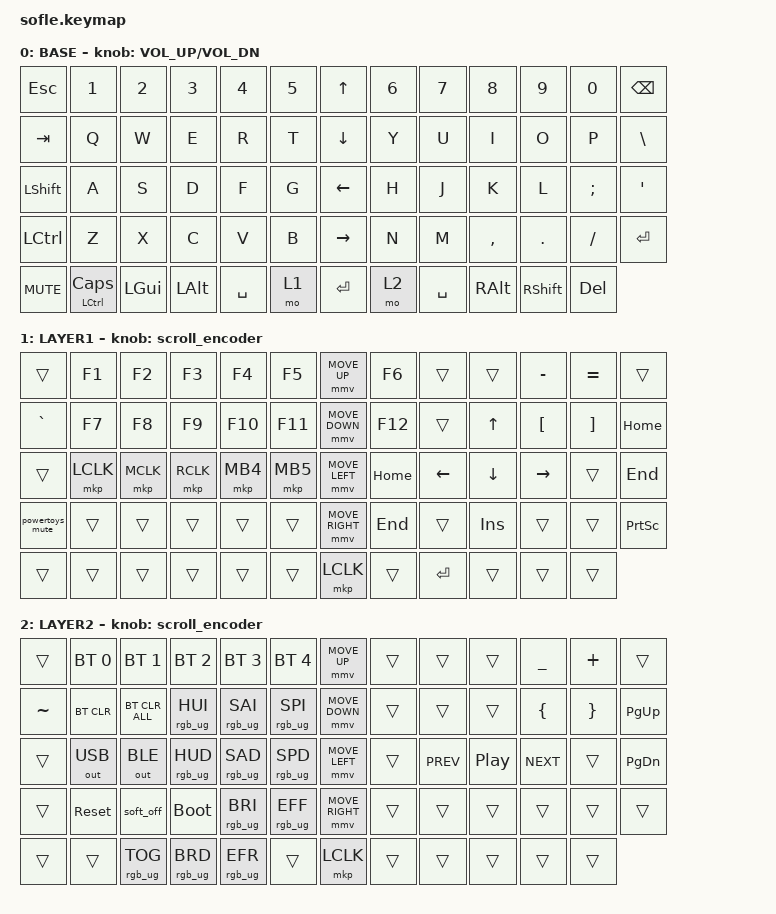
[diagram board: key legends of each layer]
#include <behaviors/mouse_keys.dtsi>
#include <behaviors.dtsi>
#include <dt-bindings/zmk/bt.h>
#include <dt-bindings/zmk/keys.h>
#include <dt-bindings/zmk/mouse.h>
#include <dt-bindings/zmk/outputs.h>
#include <dt-bindings/zmk/rgb.h>

#define ZMK_MOUSE_DEFAULT_MOVE_VAL 1200  // 600
#define ZMK_MOUSE_DEFAULT_SCRL_VAL 20    // 10
#define U_MS_U &mmv MOVE_UP
#define U_MS_D &mmv MOVE_DOWN
#define U_MS_L &mmv MOVE_LEFT
#define U_MS_R &mmv MOVE_RIGHT
#define ZMK_MOUSE_DEFAULT_MOVE_VAL 1200  //  600
#define ZMK_MOUSE_DEFAULT_SCRL_VAL 20    // 10

/ {
    behaviors {
        mmv {
            acceleration-exponent = <1>;      // 1
            time-to-max-speed-ms = <900>;    // 40
            delay-ms = <0>;                   // 0
        };

        msc {
            acceleration-exponent = <1>;      // 0
            time-to-max-speed-ms = <400>;      // 500
            delay-ms = <0>;                   //   10
        };
    };

    scroll_encoder: scroll_encoder {
        compatible = "zmk,behavior-sensor-rotate";
        #sensor-binding-cells = <0>;
        bindings = <&msc SCRL_DOWN>, <&msc SCRL_UP>;

        tap-ms = <30>;
    };
	
	macros {
		powertoys_mute: powertoys_mute {
			compatible = "zmk,behavior-macro";
            #binding-cells = <0>;
            bindings
                = <&macro_press &kp LEFT_GUI>
				, <&macro_press &kp LSHIFT>
				, <&macro_tap &kp A>
				, <&macro_release &kp LEFT_GUI>
				, <&macro_release &kp LSHIFT>
                ;
		};
	};

    keymap {
        compatible = "zmk,keymap";

        layer0 {
            bindings = <
&kp ESC		&kp N1			&kp N2			&kp N3			&kp N4		&kp N5	&kp UP_ARROW	&kp N6	&kp N7		&kp N8		&kp N9		&kp N0		&kp BACKSPACE
&kp TAB		&kp Q			&kp W			&kp E			&kp R		&kp T	&kp DOWN_ARROW	&kp Y	&kp U		&kp I		&kp O		&kp P		&kp BSLH
&kp LSHIFT	&kp A			&kp S			&kp D			&kp F		&kp G	&kp LEFT_ARROW	&kp H	&kp J		&kp K		&kp L		&kp SEMI	&kp APOS
&kp LCTRL	&kp Z			&kp X			&kp C			&kp V		&kp B	&kp RIGHT_ARROW	&kp N	&kp M		&kp COMMA	&kp DOT		&kp FSLH	&kp ENTER
&kp C_MUTE	&mt LCTRL CAPS	&kp LEFT_GUI	&kp LEFT_ALT	&kp SPACE	&mo 1	&kp ENTER		&mo 2	&kp SPACE	&kp RALT	&kp RSHIFT	&kp DELETE
            >;

            sensor-bindings = <&inc_dec_kp C_VOLUME_UP C_VOL_DN>;
            display-name = "BASE";
        };

        layer_1 {
            bindings = <
&trans			&kp F1		&kp F2		&kp F3		&kp F4			&kp F5			&mmv MOVE_UP	&kp F6			&trans			&trans		&kp MINUS			&kp EQUAL			&trans
&kp GRAVE		&kp F7		&kp F8		&kp F9		&kp F10			&kp F11			&mmv MOVE_DOWN	&kp F12			&trans			&kp UP		&kp LEFT_BRACKET	&kp RIGHT_BRACKET	&kp HOME
&trans			&mkp LCLK	&mkp MCLK	&mkp RCLK	&mkp MB4		&mkp MB5		&mmv MOVE_LEFT	&kp HOME		&kp LEFT		&kp DOWN	&kp RIGHT			&trans				&kp END
&powertoys_mute	&trans		&trans		&trans		&trans			&trans			&mmv MOVE_RIGHT	&kp END			&trans			&kp INSERT	&trans				&trans				&kp PRINTSCREEN
&trans			&trans		&trans		&trans		&trans			&trans			&mkp LCLK		&trans			&kp ENTER		&trans		&trans				&trans
            >;

            sensor-bindings = <&scroll_encoder>;
			display-name = "LAYER1";
        };

        layer_2 {
            bindings = <
&trans		&bt BT_SEL 0	&bt BT_SEL 1	&bt BT_SEL 2	&bt BT_SEL 3	&bt BT_SEL 4	&mmv MOVE_UP	&trans	&trans		&trans				&kp UNDER	&kp PLUS	&trans
&kp TILDE	&bt BT_CLR		&bt BT_CLR_ALL	&rgb_ug RGB_HUI	&rgb_ug RGB_SAI	&rgb_ug RGB_SPI	&mmv MOVE_DOWN	&trans	&trans		&trans				&kp LBRC	&kp RBRC	&kp PG_UP
&trans		&out OUT_USB	&out OUT_BLE	&rgb_ug	RGB_HUD	&rgb_ug RGB_SAD	&rgb_ug RGB_SPD	&mmv MOVE_LEFT	&trans	&kp C_PREV	&kp C_PLAY_PAUSE	&kp C_NEXT	&trans		&kp PG_DN
&trans		&sys_reset		&soft_off		&bootloader		&rgb_ug RGB_BRI	&rgb_ug RGB_EFF	&mmv MOVE_RIGHT	&trans	&trans		&trans				&trans		&trans		&trans
&trans		&trans			&rgb_ug RGB_TOG	&rgb_ug RGB_BRD	&rgb_ug RGB_EFR	&trans			&mkp LCLK		&trans	&trans		&trans				&trans		&trans
            >;

            sensor-bindings = <&scroll_encoder>;
			display-name = "LAYER2";
        };
    };
};
